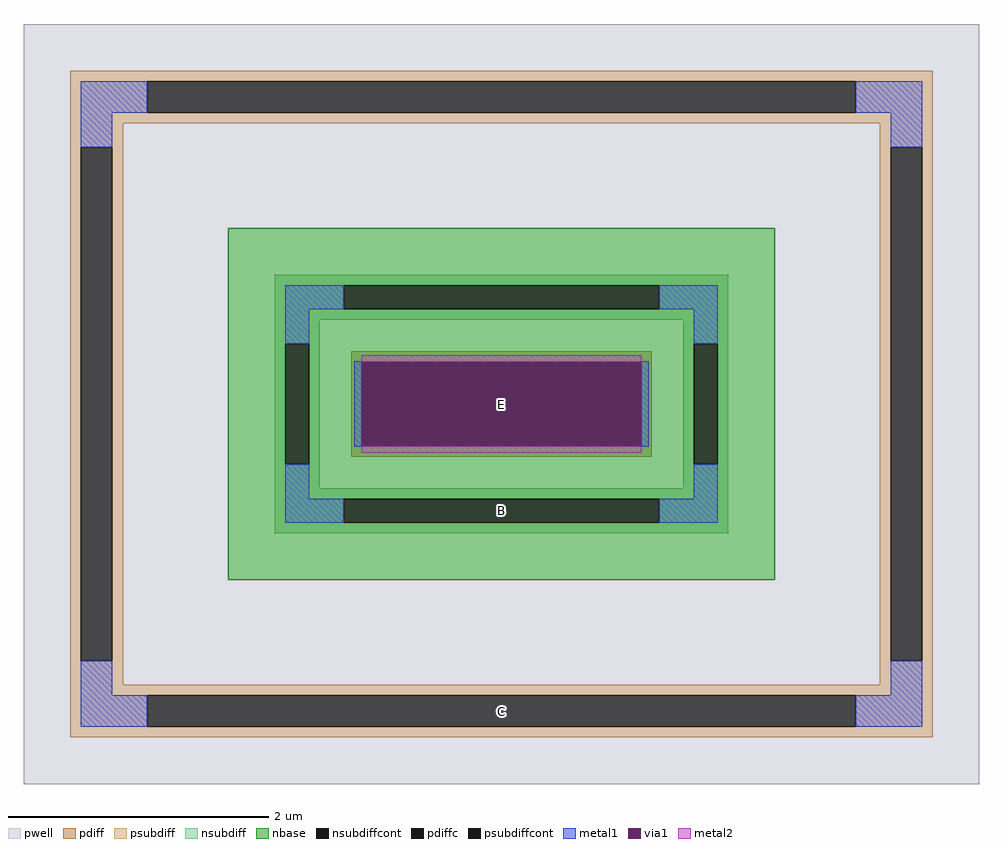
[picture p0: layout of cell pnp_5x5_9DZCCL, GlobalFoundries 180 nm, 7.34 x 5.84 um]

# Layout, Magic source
magic
tech gf180mcuD
magscale 3 26
<< pwell >>
rect -636 234 636 506
rect -636 -234 -364 234
rect 364 -234 636 234
rect -636 -506 636 -234
<< nbase >>
rect -364 -234 364 234
<< pdiff >>
rect -200 56 200 70
rect -200 -56 -186 56
rect 186 -56 200 56
rect -200 -70 200 -56
<< pdiffc >>
rect -186 -56 186 56
<< psubdiff >>
rect -574 430 574 444
rect -574 388 -472 430
rect 472 388 574 430
rect -574 374 574 388
rect -574 342 -504 374
rect -574 -342 -560 342
rect -518 -342 -504 342
rect 504 342 574 374
rect -574 -374 -504 -342
rect 504 -342 518 342
rect 560 -342 574 342
rect 504 -374 574 -342
rect -574 -388 574 -374
rect -574 -430 -472 -388
rect 472 -430 574 -388
rect -574 -444 574 -430
<< nsubdiff >>
rect -302 158 302 172
rect -302 126 -210 158
rect 210 126 302 158
rect -302 112 302 126
rect -302 80 -242 112
rect -302 -80 -288 80
rect -256 -80 -242 80
rect 242 80 302 112
rect -302 -112 -242 -80
rect 242 -80 256 80
rect 288 -80 302 80
rect 242 -112 302 -80
rect -302 -126 302 -112
rect -302 -158 -210 -126
rect 210 -158 302 -126
rect -302 -172 302 -158
<< psubdiffcont >>
rect -472 388 472 430
rect -560 -342 -518 342
rect 518 -342 560 342
rect -472 -430 472 -388
<< nsubdiffcont >>
rect -210 126 210 158
rect -288 -80 -256 80
rect 256 -80 288 80
rect -210 -158 210 -126
<< metal1 >>
rect -560 388 -472 430
rect 472 388 560 430
rect -560 342 -518 388
rect 518 342 560 388
rect -288 126 -210 158
rect 210 126 288 158
rect -288 80 -256 126
rect 256 80 288 126
rect -196 56 196 57
rect -196 -56 -186 56
rect 186 -56 196 56
rect -196 -57 196 -56
rect -288 -126 -256 -80
rect 256 -126 288 -80
rect -288 -158 -210 -126
rect 210 -158 288 -126
rect -560 -388 -518 -342
rect 518 -388 560 -342
rect -560 -430 -472 -388
rect 472 -430 560 -388
<< via1 >>
rect -186 -56 186 56
<< metal2 >>
rect -186 56 186 65
rect -186 -65 186 -56
<< labels >>
rlabel psubdiffcont 0 -409 0 -409 0 C
port 3 nsew
rlabel nsubdiffcont 0 -142 0 -142 0 B
port 4 nsew
rlabel pdiffc 0 0 0 0 0 E
port 5 nsew
<< properties >>
string FIXED_BBOX -272 -142 272 142
string gencell pnp_5x5
string library gf180mcu
string parameters w 2.0 l 0.7 area 1.4 peri 5.4 nx 1 ny 1 dummy 0 lmin 0.7 wmin 2.0 class bjt elc 1 erc 1 etc 1 ebc 1 doverlap 0 doports 1 full_metal 1 vias 1 viagb 0 viagt 0 viagl 0 viagr 0 a 1.4e-12 p 5.4e-06
<< end >>
